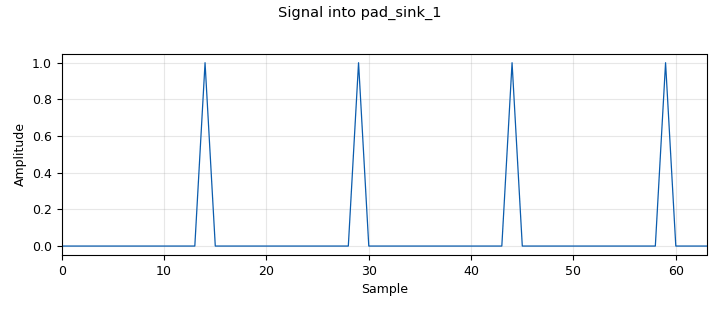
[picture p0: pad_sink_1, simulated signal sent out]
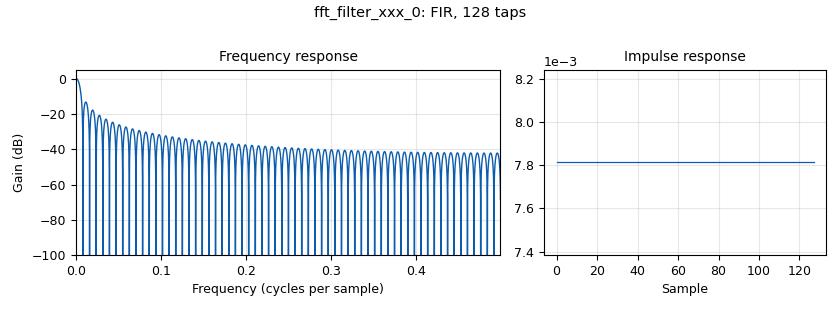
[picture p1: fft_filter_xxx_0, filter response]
<?xml version='1.0' encoding='utf-8'?>
<flow_graph>
<block>
<key>options</key>
<param><key>id</key><value>tigr_fbmc_inner_receiver</value></param>
<param><key>title</key><value>TIGR_FBMC_Inner_Receiver</value></param>
<param><key>generate_options</key><value>hb</value></param>
<param><key>category</key><value>Custom</value></param>
</block>
<block>
<key>variable</key>
<param><key>id</key><value>pd_lookahead</value></param>
<param><key>value</key><value>fft_length</value></param>
</block>
<block>
<key>variable</key>
<param><key>id</key><value>pd_threshold</value></param>
<param><key>value</key><value>0.6</value></param>
</block>
<block>
<key>parameter</key>
<param><key>id</key><value>subcarriers</value></param>
<param><key>label</key><value>subcarriers</value></param>
<param><key>value</key><value>208</value></param>
</block>
<block>
<key>parameter</key>
<param><key>id</key><value>fft_length</value></param>
<param><key>label</key><value>fft_length</value></param>
<param><key>value</key><value>256</value></param>
</block>
<block>
<key>parameter</key>
<param><key>id</key><value>data_blocks</value></param>
<param><key>label</key><value>data_blocks</value></param>
<param><key>value</key><value>10</value></param>
</block>
<block>
<key>import</key>
<param><key>id</key><value>import_1</value></param>
<param><key>import</key><value>from ofdm.preambles_grc import default_block_header</value></param>
</block>
<block>
<key>parameter</key>
<param><key>id</key><value>estimation_preamble</value></param>
<param><key>label</key><value>estimation_preamble</value></param>
<param><key>value</key><value>0</value></param>
</block>
<block>
<key>parameter</key>
<param><key>id</key><value>filter_length</value></param>
<param><key>label</key><value>filter_length</value></param>
<param><key>value</key><value>4</value></param>
</block>
<block>
<key>ofdm_fbmc_polyphase_network_vcvc</key>
<param><key>id</key><value>ofdm_fbmc_polyphase_network_vcvc_3</value></param>
<param><key>M</key><value>fft_length</value></param>
<param><key>K</key><value>filter_length</value></param>
<param><key>reverse</key><value>True</value></param>
<param><key>lp</key><value>fft_length*filter_length-1</value></param>
</block>
<block>
<key>ofdm_fbmc_junction_vcvc</key>
<param><key>id</key><value>ofdm_fbmc_junction_vcvc_0</value></param>
<param><key>M</key><value>fft_length</value></param>
<param><key>num_input</key><value>2</value></param>
</block>
<block>
<key>fft_vxx</key>
<param><key>id</key><value>fft_vxx_0</value></param>
<param><key>type</key><value>complex</value></param>
<param><key>fft_size</key><value>fft_length</value></param>
<param><key>forward</key><value>True</value></param>
<param><key>window</key><value>[]</value></param>
<param><key>shift</key><value>True</value></param>
</block>
<block>
<key>pad_sink</key>
<param><key>id</key><value>pad_sink_3</value></param>
<param><key>label</key><value>out</value></param>
<param><key>type</key><value>float</value></param>
</block>
<block>
<key>ofdm_fbmc_separate_vcvc</key>
<param><key>id</key><value>ofdm_fbmc_separate_vcvc_0</value></param>
<param><key>M</key><value>fft_length</value></param>
<param><key>num_output</key><value>2</value></param>
</block>
<block>
<key>pad_source</key>
<param><key>id</key><value>pad_source_0</value></param>
<param><key>label</key><value>in</value></param>
<param><key>type</key><value>complex</value></param>
</block>
<block>
<key>import</key>
<param><key>id</key><value>Import</value></param>
<param><key>import</key><value>import math, numpy, copy</value></param>
</block>
<block>
<key>blocks_keep_one_in_n</key>
<param><key>id</key><value>blocks_keep_one_in_n_1</value></param>
<param><key>type</key><value>float</value></param>
<param><key>n</key><value>20</value></param>
</block>
<block>
<key>parameter</key>
<param><key>id</key><value>frame_length</value></param>
<param><key>label</key><value>frame_length</value></param>
<param><key>value</key><value>30</value></param>
</block>
<block>
<key>ofdm_fbmc_beta_multiplier_vcvc</key>
<param><key>id</key><value>ofdm_fbmc_beta_multiplier_vcvc_0</value></param>
<param><key>M</key><value>fft_length</value></param>
<param><key>K</key><value>filter_length</value></param>
<param><key>lp</key><value>filter_length*fft_length-1</value></param>
<param><key>offset</key><value>0</value></param>
</block>
<block>
<key>ofdm_fbmc_overlapping_serial_to_parallel_cvc</key>
<param><key>id</key><value>ofdm_fbmc_overlapping_serial_to_parallel_cvc_0</value></param>
<param><key>M</key><value>fft_length</value></param>
</block>
<block>
<key>blocks_keep_one_in_n</key>
<param><key>id</key><value>blocks_keep_one_in_n_1_0</value></param>
<param><key>type</key><value>complex</value></param>
<param><key>n</key><value>frame_length</value></param>
<param><key>vlen</key><value>subcarriers</value></param>
</block>
<block>
<key>blocks_skiphead</key>
<param><key>id</key><value>blocks_skiphead_1</value></param>
<param><key>type</key><value>complex</value></param>
<param><key>num_items</key><value>0</value></param>
<param><key>vlen</key><value>subcarriers</value></param>
</block>
<block>
<key>ofdm_fbmc_oqam_postprocessing_vcvc</key>
<param><key>id</key><value>ofdm_fbmc_oqam_postprocessing_vcvc_0</value></param>
<param><key>M</key><value>subcarriers</value></param>
<param><key>offset</key><value>0</value></param>
<param><key>theta_sel</key><value>0</value></param>
</block>
<block>
<key>ofdm_fbmc_postprocess_CTF_estimate</key>
<param><key>id</key><value>ofdm_fbmc_postprocess_CTF_estimate_0</value></param>
<param><key>vlen</key><value>subcarriers</value></param>
</block>
<block>
<key>pad_sink</key>
<param><key>id</key><value>pad_sink_2</value></param>
<param><key>label</key><value>out</value></param>
<param><key>type</key><value>complex</value></param>
<param><key>vlen</key><value>subcarriers</value></param>
</block>
<block>
<key>pad_sink</key>
<param><key>id</key><value>pad_sink_0</value></param>
<param><key>label</key><value>out</value></param>
<param><key>type</key><value>float</value></param>
<param><key>vlen</key><value>subcarriers</value></param>
</block>
<block>
<key>parameter</key>
<param><key>id</key><value>disable_freq_sync</value></param>
<param><key>label</key><value>disable_freq_sync</value></param>
<param><key>value</key><value>1</value></param>
</block>
<block>
<key>blks2_selector</key>
<param><key>id</key><value>blks2_selector_0</value></param>
<param><key>type</key><value>float</value></param>
<param><key>num_inputs</key><value>2</value></param>
<param><key>num_outputs</key><value>1</value></param>
<param><key>input_index</key><value>disable_freq_sync</value></param>
<param><key>output_index</key><value>0</value></param>
<param><key>vlen</key><value>1</value></param>
</block>
<block>
<key>ofdm_fbmc_polyphase_network_vcvc</key>
<param><key>id</key><value>ofdm_fbmc_polyphase_network_vcvc_2</value></param>
<param><key>M</key><value>fft_length</value></param>
<param><key>K</key><value>filter_length</value></param>
<param><key>reverse</key><value>True</value></param>
<param><key>lp</key><value>fft_length*filter_length-1</value></param>
</block>
<block>
<key>ofdm_recursive_timing_metric</key>
<param><key>id</key><value>ofdm_recursive_timing_metric_0</value></param>
<param><key>fft_length</key><value>2*fft_length</value></param>
</block>
<block>
<key>fft_filter_xxx</key>
<param><key>id</key><value>fft_filter_xxx_0</value></param>
<param><key>type</key><value>fff</value></param>
<param><key>decim</key><value>1</value></param>
<param><key>taps</key><value>[2./fft_length]*(fft_length/2)</value></param>
</block>
<block>
<key>ofdm_peak_detector_02_fb</key>
<param><key>id</key><value>ofdm_peak_detector_02_fb_0</value></param>
<param><key>look_ahead</key><value>pd_lookahead</value></param>
<param><key>threshold</key><value>pd_threshold</value></param>
</block>
<block>
<key>blocks_delay</key>
<param><key>id</key><value>blocks_delay_0</value></param>
<param><key>type</key><value>byte</value></param>
<param><key>delay</key><value>(frame_length-10)*fft_length/2 - fft_length/4 + int(2.5*fft_length)-1</value></param>
</block>
<block>
<key>ofdm_vector_sampler</key>
<param><key>id</key><value>ofdm_vector_sampler_0</value></param>
<param><key>type</key><value>complex</value></param>
<param><key>itemsize</key><value>1</value></param>
<param><key>vlen</key><value>fft_length/2*frame_length</value></param>
</block>
<block>
<key>blocks_vector_to_stream</key>
<param><key>id</key><value>blocks_vector_to_stream_0</value></param>
<param><key>type</key><value>complex</value></param>
<param><key>num_items</key><value>frame_length/2</value></param>
<param><key>vlen</key><value>fft_length</value></param>
</block>
<block>
<key>blocks_delay</key>
<param><key>id</key><value>blocks_delay_0_0</value></param>
<param><key>type</key><value>byte</value></param>
<param><key>delay</key><value>1</value></param>
</block>
<block>
<key>ofdm_vector_sampler</key>
<param><key>id</key><value>ofdm_vector_sampler_0_0</value></param>
<param><key>type</key><value>complex</value></param>
<param><key>itemsize</key><value>fft_length</value></param>
<param><key>vlen</key><value>1</value></param>
</block>
<block>
<key>ofdm_mm_frequency_estimator</key>
<param><key>id</key><value>ofdm_mm_frequency_estimator_0</value></param>
<param><key>vlen</key><value>fft_length</value></param>
<param><key>identical_parts</key><value>2</value></param>
<param><key>scale</key><value>1</value></param>
</block>
<block>
<key>ofdm_lms_fir_ff</key>
<param><key>id</key><value>ofdm_lms_fir_ff_0</value></param>
<param><key>len</key><value>20</value></param>
<param><key>mu</key><value>0.001</value></param>
</block>
<block>
<key>blocks_stream_to_vector</key>
<param><key>id</key><value>blocks_stream_to_vector_0</value></param>
<param><key>type</key><value>complex</value></param>
<param><key>num_items</key><value>1</value></param>
<param><key>vlen</key><value>256</value></param>
</block>
<block>
<key>blocks_vector_to_stream</key>
<param><key>id</key><value>blocks_vector_to_stream_0_0</value></param>
<param><key>type</key><value>complex</value></param>
<param><key>num_items</key><value>fft_length</value></param>
</block>
<block>
<key>blocks_vector_source_x</key>
<param><key>id</key><value>blocks_vector_source_x_0_0</value></param>
<param><key>type</key><value>float</value></param>
<param><key>vector</key><value>[0]</value></param>
<param><key>repeat</key><value>True</value></param>
</block>
<block>
<key>blocks_vector_source_x</key>
<param><key>id</key><value>blocks_vector_source_x_0_1</value></param>
<param><key>_enabled</key><value>False</value></param>
<param><key>type</key><value>byte</value></param>
<param><key>vector</key><value>[1]+[0]*(frame_length/2-1)</value></param>
<param><key>repeat</key><value>True</value></param>
</block>
<block>
<key>blocks_vector_source_x</key>
<param><key>id</key><value>blocks_vector_source_x_0</value></param>
<param><key>type</key><value>byte</value></param>
<param><key>vector</key><value>[1]+[0]*(frame_length/2-1)</value></param>
<param><key>repeat</key><value>True</value></param>
</block>
<block>
<key>ofdm_frequency_shift_vcc</key>
<param><key>id</key><value>ofdm_frequency_shift_vcc_0</value></param>
<param><key>vlen</key><value>fft_length</value></param>
<param><key>sensitivity</key><value>-1.0/fft_length</value></param>
<param><key>cp_length</key><value>0</value></param>
</block>
<block>
<key>ofdm_multiply_const_vcc</key>
<param><key>id</key><value>ofdm_multiply_const_vcc_0</value></param>
<param><key>_enabled</key><value>False</value></param>
<param><key>k</key><value>[1.0/(math.sqrt(fft_length*0.6863))]*subcarriers</value></param>
</block>
<block>
<key>ofdm_vector_mask</key>
<param><key>id</key><value>ofdm_vector_mask_0</value></param>
<param><key>vlen</key><value>fft_length</value></param>
<param><key>cut_left</key><value>(fft_length-subcarriers)/2</value></param>
<param><key>mask_len</key><value>subcarriers</value></param>
<param><key>mask</key><value>[]</value></param>
</block>
<block>
<key>blocks_skiphead</key>
<param><key>id</key><value>blocks_skiphead_0</value></param>
<param><key>type</key><value>complex</value></param>
<param><key>num_items</key><value>2</value></param>
<param><key>vlen</key><value>208</value></param>
</block>
<block>
<key>pad_sink</key>
<param><key>id</key><value>pad_sink_1</value></param>
<param><key>label</key><value>out</value></param>
<param><key>type</key><value>byte</value></param>
</block>
<block>
<key>ofdm_fbmc_subchannel_processing_vcvc</key>
<param><key>id</key><value>ofdm_fbmc_subchannel_processing_vcvc_0</value></param>
<param><key>M</key><value>subcarriers</value></param>
<param><key>syms_per_frame</key><value>data_blocks+1</value></param>
<param><key>sel_preamble</key><value>3</value></param>
<param><key>zero_pads</key><value>2</value></param>
<param><key>extra_pad</key><value>1</value></param>
<param><key>sel_eq</key><value>0</value></param>
</block>
<connection><source_block_id>pad_source_0</source_block_id><sink_block_id>ofdm_recursive_timing_metric_0</sink_block_id><source_key>0</source_key><sink_key>0</sink_key></connection>
<connection><source_block_id>pad_source_0</source_block_id><sink_block_id>ofdm_vector_sampler_0</sink_block_id><source_key>0</source_key><sink_key>0</sink_key></connection>
<connection><source_block_id>ofdm_peak_detector_02_fb_0</source_block_id><sink_block_id>blocks_delay_0</sink_block_id><source_key>0</source_key><sink_key>0</sink_key></connection>
<connection><source_block_id>blocks_delay_0</source_block_id><sink_block_id>ofdm_vector_sampler_0</sink_block_id><source_key>0</source_key><sink_key>1</sink_key></connection>
<connection><source_block_id>ofdm_vector_sampler_0</source_block_id><sink_block_id>blocks_vector_to_stream_0</sink_block_id><source_key>0</source_key><sink_key>0</sink_key></connection>
<connection><source_block_id>blocks_vector_source_x_0</source_block_id><sink_block_id>blocks_delay_0_0</sink_block_id><source_key>0</source_key><sink_key>0</sink_key></connection>
<connection><source_block_id>ofdm_mm_frequency_estimator_0</source_block_id><sink_block_id>ofdm_lms_fir_ff_0</sink_block_id><source_key>0</source_key><sink_key>0</sink_key></connection>
<connection><source_block_id>ofdm_lms_fir_ff_0</source_block_id><sink_block_id>blocks_keep_one_in_n_1</sink_block_id><source_key>0</source_key><sink_key>0</sink_key></connection>
<connection><source_block_id>blocks_vector_source_x_0_0</source_block_id><sink_block_id>blks2_selector_0</sink_block_id><source_key>0</source_key><sink_key>1</sink_key></connection>
<connection><source_block_id>blks2_selector_0</source_block_id><sink_block_id>ofdm_frequency_shift_vcc_0</sink_block_id><source_key>0</source_key><sink_key>1</sink_key></connection>
<connection><source_block_id>ofdm_frequency_shift_vcc_0</source_block_id><sink_block_id>blocks_vector_to_stream_0_0</sink_block_id><source_key>0</source_key><sink_key>0</sink_key></connection>
<connection><source_block_id>blocks_vector_to_stream_0_0</source_block_id><sink_block_id>ofdm_fbmc_overlapping_serial_to_parallel_cvc_0</sink_block_id><source_key>0</source_key><sink_key>0</sink_key></connection>
<connection><source_block_id>ofdm_fbmc_separate_vcvc_0</source_block_id><sink_block_id>ofdm_fbmc_polyphase_network_vcvc_3</sink_block_id><source_key>1</source_key><sink_key>0</sink_key></connection>
<connection><source_block_id>ofdm_fbmc_separate_vcvc_0</source_block_id><sink_block_id>ofdm_fbmc_polyphase_network_vcvc_2</sink_block_id><source_key>0</source_key><sink_key>0</sink_key></connection>
<connection><source_block_id>ofdm_fbmc_overlapping_serial_to_parallel_cvc_0</source_block_id><sink_block_id>ofdm_fbmc_separate_vcvc_0</sink_block_id><source_key>0</source_key><sink_key>0</sink_key></connection>
<connection><source_block_id>ofdm_fbmc_polyphase_network_vcvc_2</source_block_id><sink_block_id>ofdm_fbmc_junction_vcvc_0</sink_block_id><source_key>0</source_key><sink_key>0</sink_key></connection>
<connection><source_block_id>ofdm_fbmc_polyphase_network_vcvc_3</source_block_id><sink_block_id>ofdm_fbmc_junction_vcvc_0</sink_block_id><source_key>0</source_key><sink_key>1</sink_key></connection>
<connection><source_block_id>ofdm_multiply_const_vcc_0</source_block_id><sink_block_id>blocks_skiphead_0</sink_block_id><source_key>0</source_key><sink_key>0</sink_key></connection>
<connection><source_block_id>ofdm_fbmc_beta_multiplier_vcvc_0</source_block_id><sink_block_id>ofdm_vector_mask_0</sink_block_id><source_key>0</source_key><sink_key>0</sink_key></connection>
<connection><source_block_id>ofdm_vector_mask_0</source_block_id><sink_block_id>ofdm_multiply_const_vcc_0</sink_block_id><source_key>0</source_key><sink_key>0</sink_key></connection>
<connection><source_block_id>ofdm_fbmc_subchannel_processing_vcvc_0</source_block_id><sink_block_id>blocks_skiphead_1</sink_block_id><source_key>0</source_key><sink_key>0</sink_key></connection>
<connection><source_block_id>blocks_skiphead_1</source_block_id><sink_block_id>ofdm_fbmc_oqam_postprocessing_vcvc_0</sink_block_id><source_key>0</source_key><sink_key>0</sink_key></connection>
<connection><source_block_id>ofdm_fbmc_subchannel_processing_vcvc_0</source_block_id><sink_block_id>blocks_keep_one_in_n_1_0</sink_block_id><source_key>1</source_key><sink_key>0</sink_key></connection>
<connection><source_block_id>blocks_keep_one_in_n_1_0</source_block_id><sink_block_id>ofdm_fbmc_postprocess_CTF_estimate_0</sink_block_id><source_key>0</source_key><sink_key>0</sink_key></connection>
<connection><source_block_id>ofdm_fbmc_postprocess_CTF_estimate_0</source_block_id><sink_block_id>pad_sink_0</sink_block_id><source_key>0</source_key><sink_key>0</sink_key></connection>
<connection><source_block_id>blocks_vector_source_x_0</source_block_id><sink_block_id>pad_sink_1</sink_block_id><source_key>0</source_key><sink_key>0</sink_key></connection>
<connection><source_block_id>ofdm_fbmc_oqam_postprocessing_vcvc_0</source_block_id><sink_block_id>pad_sink_2</sink_block_id><source_key>0</source_key><sink_key>0</sink_key></connection>
<connection><source_block_id>blocks_keep_one_in_n_1</source_block_id><sink_block_id>pad_sink_3</sink_block_id><source_key>0</source_key><sink_key>0</sink_key></connection>
<connection><source_block_id>ofdm_fbmc_junction_vcvc_0</source_block_id><sink_block_id>fft_vxx_0</sink_block_id><source_key>0</source_key><sink_key>0</sink_key></connection>
<connection><source_block_id>fft_vxx_0</source_block_id><sink_block_id>ofdm_fbmc_beta_multiplier_vcvc_0</sink_block_id><source_key>0</source_key><sink_key>0</sink_key></connection>
<connection><source_block_id>blocks_skiphead_0</source_block_id><sink_block_id>ofdm_fbmc_subchannel_processing_vcvc_0</sink_block_id><source_key>0</source_key><sink_key>0</sink_key></connection>
<connection><source_block_id>blocks_vector_to_stream_0</source_block_id><sink_block_id>blocks_stream_to_vector_0</sink_block_id><source_key>0</source_key><sink_key>0</sink_key></connection>
<connection><source_block_id>blocks_stream_to_vector_0</source_block_id><sink_block_id>ofdm_frequency_shift_vcc_0</sink_block_id><source_key>0</source_key><sink_key>0</sink_key></connection>
<connection><source_block_id>ofdm_lms_fir_ff_0</source_block_id><sink_block_id>blks2_selector_0</sink_block_id><source_key>0</source_key><sink_key>0</sink_key></connection>
<connection><source_block_id>blocks_vector_to_stream_0</source_block_id><sink_block_id>ofdm_vector_sampler_0_0</sink_block_id><source_key>0</source_key><sink_key>0</sink_key></connection>
<connection><source_block_id>blocks_vector_source_x_0_1</source_block_id><sink_block_id>ofdm_frequency_shift_vcc_0</sink_block_id><source_key>0</source_key><sink_key>2</sink_key></connection>
<connection><source_block_id>blocks_delay_0_0</source_block_id><sink_block_id>ofdm_vector_sampler_0_0</sink_block_id><source_key>0</source_key><sink_key>1</sink_key></connection>
<connection><source_block_id>ofdm_vector_sampler_0_0</source_block_id><sink_block_id>ofdm_mm_frequency_estimator_0</sink_block_id><source_key>0</source_key><sink_key>0</sink_key></connection>
<connection><source_block_id>ofdm_recursive_timing_metric_0</source_block_id><sink_block_id>fft_filter_xxx_0</sink_block_id><source_key>0</source_key><sink_key>0</sink_key></connection>
<connection><source_block_id>fft_filter_xxx_0</source_block_id><sink_block_id>ofdm_peak_detector_02_fb_0</sink_block_id><source_key>0</source_key><sink_key>0</sink_key></connection>
<connection><source_block_id>blocks_vector_source_x_0</source_block_id><sink_block_id>ofdm_frequency_shift_vcc_0</sink_block_id><source_key>0</source_key><sink_key>2</sink_key></connection>
<connection><source_block_id>ofdm_vector_mask_0</source_block_id><sink_block_id>blocks_skiphead_0</sink_block_id><source_key>0</source_key><sink_key>0</sink_key></connection>
</flow_graph>
